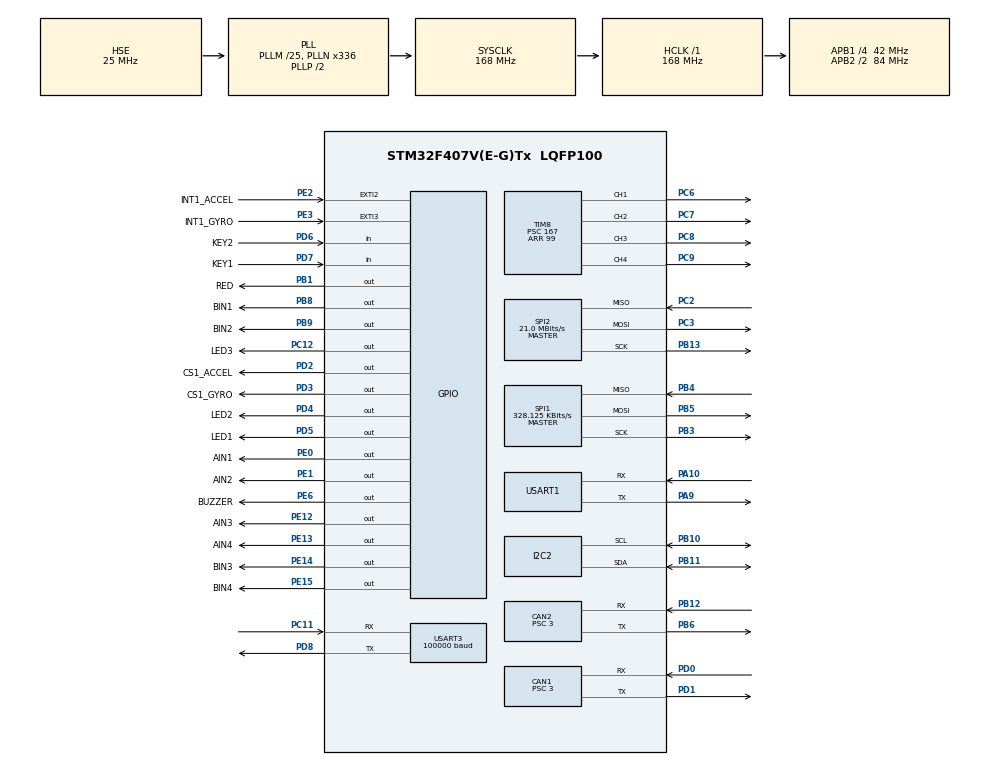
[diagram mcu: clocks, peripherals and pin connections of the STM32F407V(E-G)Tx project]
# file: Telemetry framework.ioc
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CAN1.BS1=CAN_BS1_10TQ
CAN1.BS2=CAN_BS2_3TQ
CAN1.CalculateBaudRate=1000000
CAN1.CalculateTimeBit=1000
CAN1.CalculateTimeQuantum=71.42857142857143
CAN1.Prescaler=3
CAN2.BS1=CAN_BS1_10TQ
CAN2.BS2=CAN_BS2_3TQ
CAN2.CalculateBaudRate=1000000
CAN2.CalculateTimeBit=1000
CAN2.CalculateTimeQuantum=71.42857142857143
CAN2.Prescaler=3
Dma.Request0=USART1_RX
Dma.Request1=USART1_TX
Dma.Request2=SPI1_RX
Dma.Request3=SPI1_TX
Dma.Request4=USART3_RX
Dma.Request5=USART3_TX
Dma.SPI1_RX.2.Direction=DMA_PERIPH_TO_MEMORY
Dma.SPI1_RX.2.FIFOMode=DMA_FIFOMODE_DISABLE
Dma.SPI1_RX.2.Instance=DMA2_Stream0
Dma.SPI1_RX.2.MemDataAlignment=DMA_MDATAALIGN_BYTE
Dma.SPI1_RX.2.MemInc=DMA_MINC_ENABLE
Dma.SPI1_RX.2.Mode=DMA_NORMAL
Dma.SPI1_RX.2.PeriphDataAlignment=DMA_PDATAALIGN_BYTE
Dma.SPI1_RX.2.PeriphInc=DMA_PINC_DISABLE
Dma.SPI1_RX.2.Priority=DMA_PRIORITY_VERY_HIGH
Dma.SPI1_TX.3.Direction=DMA_MEMORY_TO_PERIPH
Dma.SPI1_TX.3.FIFOMode=DMA_FIFOMODE_DISABLE
Dma.SPI1_TX.3.Instance=DMA2_Stream3
Dma.SPI1_TX.3.MemDataAlignment=DMA_MDATAALIGN_BYTE
Dma.SPI1_TX.3.MemInc=DMA_MINC_ENABLE
Dma.SPI1_TX.3.Mode=DMA_NORMAL
Dma.SPI1_TX.3.PeriphDataAlignment=DMA_PDATAALIGN_BYTE
Dma.SPI1_TX.3.PeriphInc=DMA_PINC_DISABLE
Dma.SPI1_TX.3.Priority=DMA_PRIORITY_HIGH
Dma.USART1_RX.0.Direction=DMA_PERIPH_TO_MEMORY
Dma.USART1_RX.0.FIFOMode=DMA_FIFOMODE_DISABLE
Dma.USART1_RX.0.Instance=DMA2_Stream2
Dma.USART1_RX.0.MemDataAlignment=DMA_MDATAALIGN_BYTE
Dma.USART1_RX.0.MemInc=DMA_MINC_ENABLE
Dma.USART1_RX.0.Mode=DMA_NORMAL
Dma.USART1_RX.0.PeriphDataAlignment=DMA_PDATAALIGN_BYTE
Dma.USART1_RX.0.PeriphInc=DMA_PINC_DISABLE
Dma.USART1_RX.0.Priority=DMA_PRIORITY_LOW
Dma.USART1_TX.1.Direction=DMA_MEMORY_TO_PERIPH
Dma.USART1_TX.1.FIFOMode=DMA_FIFOMODE_DISABLE
Dma.USART1_TX.1.Instance=DMA2_Stream7
Dma.USART1_TX.1.MemDataAlignment=DMA_MDATAALIGN_BYTE
Dma.USART1_TX.1.MemInc=DMA_MINC_ENABLE
Dma.USART1_TX.1.Mode=DMA_NORMAL
Dma.USART1_TX.1.PeriphDataAlignment=DMA_PDATAALIGN_BYTE
Dma.USART1_TX.1.PeriphInc=DMA_PINC_DISABLE
Dma.USART1_TX.1.Priority=DMA_PRIORITY_LOW
Dma.USART3_RX.4.Direction=DMA_PERIPH_TO_MEMORY
Dma.USART3_RX.4.FIFOMode=DMA_FIFOMODE_DISABLE
Dma.USART3_RX.4.Instance=DMA1_Stream1
Dma.USART3_RX.4.MemDataAlignment=DMA_MDATAALIGN_BYTE
Dma.USART3_RX.4.MemInc=DMA_MINC_ENABLE
Dma.USART3_RX.4.Mode=DMA_NORMAL
Dma.USART3_RX.4.PeriphDataAlignment=DMA_PDATAALIGN_BYTE
Dma.USART3_RX.4.PeriphInc=DMA_PINC_DISABLE
Dma.USART3_RX.4.Priority=DMA_PRIORITY_MEDIUM
Dma.USART3_TX.5.Direction=DMA_MEMORY_TO_PERIPH
Dma.USART3_TX.5.FIFOMode=DMA_FIFOMODE_DISABLE
Dma.USART3_TX.5.Instance=DMA1_Stream3
Dma.USART3_TX.5.MemDataAlignment=DMA_MDATAALIGN_BYTE
Dma.USART3_TX.5.MemInc=DMA_MINC_ENABLE
Dma.USART3_TX.5.Mode=DMA_NORMAL
Dma.USART3_TX.5.PeriphDataAlignment=DMA_PDATAALIGN_BYTE
Dma.USART3_TX.5.PeriphInc=DMA_PINC_DISABLE
Dma.USART3_TX.5.Priority=DMA_PRIORITY_MEDIUM
I2C2.I2C_Mode=I2C_Fast
Mcu.Family=STM32F4
Mcu.Name=STM32F407V(E-G)Tx
Mcu.Package=LQFP100
NVIC.CAN1_RX0_IRQn=true\:0\:0\:false\:false\:true\:true\:true\:true
NVIC.CAN1_RX1_IRQn=true\:0\:0\:false\:false\:true\:true\:true\:true
NVIC.CAN2_RX0_IRQn=true\:0\:0\:false\:false\:true\:true\:true\:true
NVIC.CAN2_RX1_IRQn=true\:0\:0\:false\:false\:true\:true\:true\:true
NVIC.DMA1_Stream1_IRQn=true\:0\:0\:false\:false\:true\:false\:true\:true
NVIC.DMA1_Stream3_IRQn=true\:0\:0\:false\:false\:true\:false\:true\:true
NVIC.DMA2_Stream0_IRQn=true\:0\:0\:false\:false\:true\:false\:true\:true
NVIC.DMA2_Stream2_IRQn=true\:0\:0\:false\:false\:true\:false\:true\:true
NVIC.DMA2_Stream3_IRQn=true\:0\:0\:false\:false\:true\:false\:true\:true
NVIC.DMA2_Stream7_IRQn=true\:0\:0\:false\:false\:true\:false\:true\:true
NVIC.PriorityGroup=NVIC_PRIORITYGROUP_4
NVIC.TIM8_TRG_COM_TIM14_IRQn=true\:0\:0\:false\:false\:true\:true\:true\:true
NVIC.USART1_IRQn=true\:0\:0\:false\:false\:true\:true\:true\:true
NVIC.USART3_IRQn=true\:0\:0\:false\:false\:true\:true\:true\:true
PA10.Mode=Asynchronous
PA10.Signal=USART1_RX
PA13.Mode=Serial_Wire
PA13.Signal=SYS_JTMS-SWDIO
PA14.Mode=Serial_Wire
PA14.Signal=SYS_JTCK-SWCLK
PA9.Mode=Asynchronous
PA9.Signal=USART1_TX
PB1.GPIO_Label=RED
PB1.GPIO_ModeDefaultOutputPP=GPIO_MODE_OUTPUT_PP
PB1.GPIO_Speed=GPIO_SPEED_FREQ_LOW
PB1.PinState=GPIO_PIN_SET
PB1.Signal=GPIO_Output
PB10.Mode=I2C
PB10.Signal=I2C2_SCL
PB11.Mode=I2C
PB11.Signal=I2C2_SDA
PB12.Mode=CAN_Activate
PB12.Signal=CAN2_RX
PB13.Mode=Full_Duplex_Master
PB13.Signal=SPI2_SCK
PB3.Mode=Full_Duplex_Master
PB3.Signal=SPI1_SCK
PB4.Mode=Full_Duplex_Master
PB4.Signal=SPI1_MISO
PB5.Mode=Full_Duplex_Master
PB5.Signal=SPI1_MOSI
PB6.Mode=CAN_Activate
PB6.Signal=CAN2_TX
PB8.GPIO_Label=BIN1
PB8.Signal=GPIO_Output
PB9.GPIO_Label=BIN2
PB9.Signal=GPIO_Output
PC11.Mode=Asynchronous
PC11.Signal=USART3_RX
PC12.GPIO_Label=LED3
PC12.PinState=GPIO_PIN_SET
PC12.Signal=GPIO_Output
PC2.Mode=Full_Duplex_Master
PC2.Signal=SPI2_MISO
PC3.Mode=Full_Duplex_Master
PC3.Signal=SPI2_MOSI
PC6.Signal=S_TIM8_CH1
PC7.Signal=S_TIM8_CH2
PC8.Signal=S_TIM8_CH3
PC9.Signal=S_TIM8_CH4
PD0.Mode=CAN_Activate
PD0.Signal=CAN1_RX
PD1.Mode=CAN_Activate
PD1.Signal=CAN1_TX
PD2.GPIO_Label=CS1_ACCEL
PD2.GPIO_PuPd=GPIO_PULLUP
PD2.GPIO_Speed=GPIO_SPEED_FREQ_HIGH
PD2.PinState=GPIO_PIN_SET
PD2.Signal=GPIO_Output
PD3.GPIO_Label=CS1_GYRO
PD3.Signal=GPIO_Output
PD4.GPIO_Label=LED2
PD4.PinState=GPIO_PIN_SET
PD4.Signal=GPIO_Output
PD5.GPIO_Label=LED1
PD5.PinState=GPIO_PIN_SET
PD5.Signal=GPIO_Output
PD6.GPIO_Label=KEY2
PD6.GPIO_PuPd=GPIO_PULLUP
PD6.Signal=GPIO_Input
PD7.GPIO_Label=KEY1
PD7.GPIO_PuPd=GPIO_PULLUP
PD7.Signal=GPIO_Input
PD8.Mode=Asynchronous
PD8.Signal=USART3_TX
PE0.GPIO_Label=AIN1
PE0.Signal=GPIO_Output
PE1.GPIO_Label=AIN2
PE1.Signal=GPIO_Output
PE12.GPIO_Label=AIN3
PE12.Signal=GPIO_Output
PE13.GPIO_Label=AIN4
PE13.Signal=GPIO_Output
PE14.GPIO_Label=BIN3
PE14.Signal=GPIO_Output
PE15.GPIO_Label=BIN4
PE15.Signal=GPIO_Output
PE2.GPIO_Label=INT1_ACCEL
PE2.GPIO_PuPd=GPIO_PULLUP
PE2.Signal=GPXTI2
PE3.GPIO_Label=INT1_GYRO
PE3.GPIO_PuPd=GPIO_PULLUP
PE3.Signal=GPXTI3
PE6.GPIO_Label=BUZZER
PE6.PinState=GPIO_PIN_RESET
PE6.Signal=GPIO_Output
PH0-OSC_IN.Mode=HSE-External-Oscillator
PH0-OSC_IN.Signal=RCC_OSC_IN
PH1-OSC_OUT.Mode=HSE-External-Oscillator
PH1-OSC_OUT.Signal=RCC_OSC_OUT
ProjectManager.HeapSize=0x200
ProjectManager.StackSize=0x400
ProjectManager.TargetToolchain=MDK-ARM V5.32
RCC.48MHZClocksFreq_Value=84000000
RCC.AHBFreq_Value=168000000
RCC.APB1CLKDivider=RCC_HCLK_DIV4
RCC.APB1Freq_Value=42000000
RCC.APB1TimFreq_Value=84000000
RCC.APB2CLKDivider=RCC_HCLK_DIV2
RCC.APB2Freq_Value=84000000
RCC.APB2TimFreq_Value=168000000
RCC.CortexFreq_Value=168000000
RCC.HCLKFreq_Value=168000000
RCC.HSE_VALUE=25000000
RCC.HSI_VALUE=16000000
RCC.LSE_VALUE=32768
RCC.PLLM=25
RCC.PLLN=336
RCC.PLLSourceVirtual=RCC_PLLSOURCE_HSE
RCC.SYSCLKFreq_VALUE=168000000
RCC.SYSCLKSource=RCC_SYSCLKSOURCE_PLLCLK
RCC.VCOOutputFreq_Value=336000000
SH.S_TIM8_CH1.0=TIM8_CH1,PWM Generation1 CH1
SH.S_TIM8_CH2.0=TIM8_CH2,PWM Generation2 CH2
SH.S_TIM8_CH3.0=TIM8_CH3,PWM Generation3 CH3
SH.S_TIM8_CH4.0=TIM8_CH4,PWM Generation4 CH4
SPI1.BaudRatePrescaler=SPI_BAUDRATEPRESCALER_256
SPI1.CLKPhase=SPI_PHASE_2EDGE
SPI1.CLKPolarity=SPI_POLARITY_HIGH
SPI1.CalculateBaudRate=328.125 KBits/s
SPI1.Direction=SPI_DIRECTION_2LINES
SPI1.Mode=SPI_MODE_MASTER
SPI1.VirtualType=VM_MASTER
SPI2.CalculateBaudRate=21.0 MBits/s
SPI2.Direction=SPI_DIRECTION_2LINES
SPI2.Mode=SPI_MODE_MASTER
SPI2.VirtualType=VM_MASTER
STMicroelectronics.X-CUBE-ALGOBUILD.1.5.0.LibraryCcDSPOoLibraryJjDSPOoLibrary=true
TIM14.Period=999
TIM14.Prescaler=83
TIM8.Channel-PWM\ Generation1\ CH1=TIM_CHANNEL_1
TIM8.Channel-PWM\ Generation2\ CH2=TIM_CHANNEL_2
TIM8.Channel-PWM\ Generation3\ CH3=TIM_CHANNEL_3
TIM8.Channel-PWM\ Generation4\ CH4=TIM_CHANNEL_4
TIM8.Period=99
TIM8.Prescaler=167
USART1.VirtualMode=VM_ASYNC
USART3.BaudRate=100000
USART3.Parity=PARITY_EVEN
USART3.StopBits=STOPBITS_2
USART3.VirtualMode=VM_ASYNC
VP_STMicroelectronics.X-CUBE-ALGOBUILD_VS_DSPOoLibraryJjLibrary_1.5.0_1.5.0.Mode=DSPOoLibraryJjLibrary
VP_TIM14_VS_ClockSourceINT.Mode=Enable_Timer
board=custom

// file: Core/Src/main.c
/* USER CODE BEGIN Header */
/**
  ******************************************************************************
  * @file           : main.c
  * @brief          : Main program body
  ******************************************************************************
  * @attention
  *
  * Copyright (c) 2026 STMicroelectronics.
  * All rights reserved.
  *
  * This software is licensed under terms that can be found in the LICENSE file
  * in the root directory of this software component.
  * If no LICENSE file comes with this software, it is provided AS-IS.
  *
  ******************************************************************************
  */
/* USER CODE END Header */
#include "main.h"
#include "can.h"
#include "dma.h"
#include "i2c.h"
#include "spi.h"
#include "tim.h"
#include "usart.h"
#include "gpio.h"

/* USER CODE BEGIN Includes */
#include "bsp.h"
/* USER CODE END Includes */

/* USER CODE BEGIN PV */
float gyro[3], accel[3], temp;
float roll,pitch,yaw;
bool init_finished = 0;

uint16_t throttle_raw ;   // 油门
uint16_t roll_raw;   	  // 副翼
uint16_t pitch_raw;   	  // 升降
uint16_t yaw_raw;   	  // 方向
/* USER CODE END PV */

void SystemClock_Config(void);

/* USER CODE BEGIN 0 */
/**
 * @brief CAN报文回调函数
 *
 * @param Rx_Buffer CAN接收的信息结构体
 */
void My_CAN_Callback(Struct_CAN_Rx_Buffer *Rx_Buffer)
{
  switch (Rx_Buffer->Header.StdId)
  {
    case (0x111):
    {
      if(Rx_Buffer->Data[0] == 0x01)
      {
        Buzzer_on();
      }
      else if(Rx_Buffer->Data[0] == 0x02)
      {
        Buzzer_off();
      }
      }break;
  }
}
/* USER CODE END 0 */

int main(void)
{

  /* MCU Configuration--------------------------------------------------------*/

  /* Reset of all peripherals, Initializes the Flash interface and the Systick. */
  HAL_Init();

  /* Configure the system clock */
  SystemClock_Config();

  /* Initialize all configured peripherals */
  MX_GPIO_Init();
  MX_DMA_Init();
  MX_USART1_UART_Init();
  MX_SPI1_Init();
  MX_I2C2_Init();
  MX_CAN1_Init();
  MX_CAN2_Init();
  MX_TIM14_Init();
  MX_TIM8_Init();
  MX_SPI2_Init();
  MX_USART3_UART_Init();
  /* USER CODE BEGIN 2 */
  delay_init();
  OLED_init();
  INS_init();
  CAN_Init(&hcan1, My_CAN_Callback);
  UART_Init(&huart1, UART_Serialplot_Call_Back, UART_BUFFER_SIZE);
  UART_Init(&huart3, SBUS_Data_Call_Back, UART_BUFFER_SIZE);
  HAL_TIM_Base_Start_IT(&htim14);
  init_finished = 1;
  OLED_LOGO();
  OLED_refresh_gram();
  /* USER CODE END 2 */

  /* Infinite loop */
  /* USER CODE BEGIN WHILE */
  while (1)
  {
	uint8_t key = Key_GetNum();
	// 发送数据到 ID 0x200
	uint8_t send_data[8] = {0x01, 0x02, 0x03, 0x04, 0x05, 0x06, 0x07, 0x08};
	CAN_Send_Data(&hcan1, 0x200, send_data, 8);
	/* OLED 显示欧拉角 */
	OLED_printf(0, 0, "Roll:%.1f", roll);
	OLED_printf(1, 0, "Pitch:%.1f", pitch);
	OLED_printf(2, 0, "Yaw:%.1f", yaw);
	OLED_refresh_gram();

	switch (key) {
		case KEY1_SHORT:  RGB_Control(1,0,0);  break;
		case KEY1_LONG:   RGB_Control(0,1,0);  break;
		case KEY2_SHORT:  RGB_Control(0,0,1);  break;
		case KEY2_LONG:   RGB_Control(1,1,1);  break;
		default: break;
	}

	throttle_raw = SBUS_CH.CH3;   // 油门
	roll_raw     = SBUS_CH.CH1;   // 副翼
	pitch_raw    = SBUS_CH.CH2;   // 升降
	yaw_raw      = SBUS_CH.CH4;   // 方向
    /* USER CODE END WHILE */

  }
}

void SystemClock_Config(void)
{
  RCC_OscInitTypeDef RCC_OscInitStruct = {0};
  RCC_ClkInitTypeDef RCC_ClkInitStruct = {0};

  /** Configure the main internal regulator output voltage
  */
  __HAL_RCC_PWR_CLK_ENABLE();
  __HAL_PWR_VOLTAGESCALING_CONFIG(PWR_REGULATOR_VOLTAGE_SCALE1);

  /** Initializes the RCC Oscillators according to the specified parameters
  * in the RCC_OscInitTypeDef structure.
  */
  RCC_OscInitStruct.OscillatorType = RCC_OSCILLATORTYPE_HSE;
  RCC_OscInitStruct.HSEState = RCC_HSE_ON;
  RCC_OscInitStruct.PLL.PLLState = RCC_PLL_ON;
  RCC_OscInitStruct.PLL.PLLSource = RCC_PLLSOURCE_HSE;
  RCC_OscInitStruct.PLL.PLLM = 25;
  RCC_OscInitStruct.PLL.PLLN = 336;
  RCC_OscInitStruct.PLL.PLLP = RCC_PLLP_DIV2;
  RCC_OscInitStruct.PLL.PLLQ = 4;
  if (HAL_RCC_OscConfig(&RCC_OscInitStruct) != HAL_OK)
  {
    Error_Handler();
  }

  /** Initializes the CPU, AHB and APB buses clocks
  */
  RCC_ClkInitStruct.ClockType = RCC_CLOCKTYPE_HCLK|RCC_CLOCKTYPE_SYSCLK
                              |RCC_CLOCKTYPE_PCLK1|RCC_CLOCKTYPE_PCLK2;
  RCC_ClkInitStruct.SYSCLKSource = RCC_SYSCLKSOURCE_PLLCLK;
  RCC_ClkInitStruct.AHBCLKDivider = RCC_SYSCLK_DIV1;
  RCC_ClkInitStruct.APB1CLKDivider = RCC_HCLK_DIV4;
  RCC_ClkInitStruct.APB2CLKDivider = RCC_HCLK_DIV2;

  if (HAL_RCC_ClockConfig(&RCC_ClkInitStruct, FLASH_LATENCY_5) != HAL_OK)
  {
    Error_Handler();
  }
}

void Error_Handler(void)
{
  __disable_irq();
  while (1)
  {
  }
}
